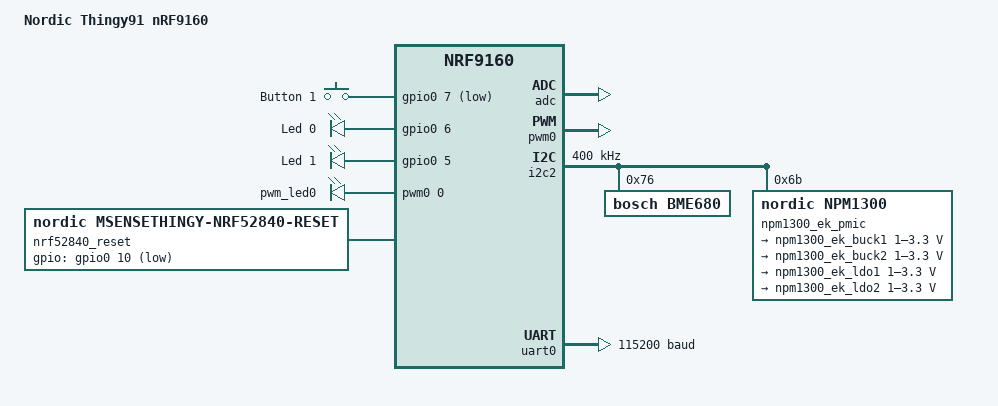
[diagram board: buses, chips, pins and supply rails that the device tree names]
/*
 * Copyright (c) 2019 Nordic Semiconductor ASA
 *
 * SPDX-License-Identifier: LicenseRef-Nordic-5-Clause
 */
#include "msenseThingy_nrf9160_common-pinctrl.dtsi"
#include <dt-bindings/regulator/npm1300.h>

/ {
	model = "Nordic Thingy91 nRF9160";
	compatible = "nordic,msenseThingy-nrf9160";

	chosen {
		zephyr,console = &uart0;
		zephyr,shell-uart = &uart0;
		zephyr,uart-mcumgr = &uart0;
	};

	buttons {
		compatible = "gpio-keys";

		button0: button_0 {
			gpios = <&gpio0 7 (GPIO_PULL_UP | GPIO_ACTIVE_LOW)>;
			label = "Button 1";
		};
	};

	leds {
		compatible = "gpio-leds";
		led0: led_0 {
			gpios = <&gpio0 6 GPIO_OPEN_DRAIN>;
			label = "Led 0";
		};
		led1: led_1 {
			gpios = <&gpio0 5 GPIO_OPEN_DRAIN>;
			label = "Led 1";
		};
	};

	pwmleds {
		compatible = "pwm-leds";
		pwm_led0: pwm_led_0 {
			pwms = <&pwm0 0 PWM_MSEC(20) PWM_POLARITY_INVERTED>;
		};
	};

	nrf52840_reset: gpio-reset {
		compatible = "nordic,msenseThingy-nrf52840-reset";
		status = "okay";
		gpios = <&gpio0 10 GPIO_ACTIVE_LOW>;
	};

	aliases {
		sw0 = &button0;
		led0 = &led0;
		led1 = &led1;
		bootloader-led0 = &led0;
		pwm-led0 = &pwm_led0;
		mcuboot-button0 = &button0;
		mcuboot-led0 = &led0;
	};
};

&adc {
	status = "okay";
};

&gpiote {
	status = "okay";
};

&gpio0 {
	status = "okay";
};

/* PWM0 is intended for RGB LED control */
&pwm0 {
	status = "okay";
	pinctrl-0 = <&pwm0_default>;
	pinctrl-1 = <&pwm0_sleep>;
	pinctrl-names = "default", "sleep";
};

&i2c2 {
	compatible = "nordic,nrf-twim";
	status = "okay";
	clock-frequency = <I2C_BITRATE_FAST>;

	pinctrl-0 = <&i2c2_default>;
	pinctrl-1 = <&i2c2_sleep>;
	pinctrl-names = "default", "sleep";
	bme680: bme680@76 {
		compatible = "bosch,bme680";
		reg = <0x76>;
	};

	npm1300_ek_pmic: pmic@6b {
		compatible = "nordic,npm1300";
		reg = <0x6b>;
 
	 	// long-press-reset = "one_button";
	 	// ship-to-active-time = <96>;
 
		npm1300_ek_gpio: gpio-controller {
			compatible = "nordic,npm1300-gpio";
			gpio-controller;
			#gpio-cells = <2>;
			ngpios = <5>;
		};
 
		npm1300_ek_regulators: regulators {
			compatible = "nordic,npm1300-regulator";
 
						
			npm1300_ek_buck1: BUCK1 {
				regulator-min-microvolt = <1000000>;
				regulator-max-microvolt = <3300000>;
				
				retention-microvolt = <2000000>;
			};
			

			npm1300_ek_buck2: BUCK2 {
				regulator-min-microvolt = <1000000>;
				regulator-max-microvolt = <3300000>;
				
				retention-microvolt = <1000000>;
			};
			
			npm1300_ek_ldo1: LDO1 {
				regulator-min-microvolt = <1000000>;
				regulator-max-microvolt = <3300000>;
				regulator-initial-mode = <NPM1300_LDSW_MODE_LDSW>;
				// soft-start-microamp = <20000>;
			};
			
			npm1300_ek_ldo2: LDO2 {
				regulator-min-microvolt = <1000000>;
				regulator-max-microvolt = <3300000>;
				regulator-initial-mode = <NPM1300_LDSW_MODE_LDSW>;
				// soft-start-microamp = <20000>;
				regulator-boot-on;
			};
			
		};
 
				
		npm1300_ek_charger: charger {
			compatible = "nordic,npm1300-charger";
			term-microvolt = <3500000>;
			term-warm-microvolt = <3600000>;
			// term-current-percent = <10>;
			current-microamp = <100000>;
			// trickle-microvolt = <2500000>;
			dischg-limit-microamp = <1340000>;
			vbus-limit-microamp = <500000>;
			thermistor-ohms = <10000>;
			thermistor-beta = <3380>;
			charging-enable;
		};
		
				
		npm1300_ek_leds: leds {
			compatible = "nordic,npm1300-led";
			nordic,led0-mode = "error";    
			nordic,led1-mode = "charging";    
			nordic,led2-mode = "host";
		};
		
	};
};

&uart0 {
	compatible = "nordic,nrf-uarte";
	current-speed = <115200>;
	status = "okay";
	pinctrl-0 = <&uart0_default>;
	pinctrl-1 = <&uart0_sleep>;
	pinctrl-names = "default", "sleep";
};

&uart1 {
	current-speed = <1000000>;
	status = "disabled";
	pinctrl-0 = <&uart1_default>;
	pinctrl-1 = <&uart1_sleep>;
	pinctrl-names = "default", "sleep";
};

&flash0 {
	/*
	 * For more information, see:
	 * http://docs.zephyrproject.org/devices/dts/flash_partitions.html
	 */
	partitions {
		compatible = "fixed-partitions";
		#address-cells = <1>;
		#size-cells = <1>;

		boot_partition: partition@0 {
			label = "mcuboot";
			reg = <0x00000000 0x10000>;
		};
		slot0_partition: partition@10000 {
			label = "image-0";
		};
		slot0_ns_partition: partition@40000 {
			label = "image-0-nonsecure";
		};
		slot1_partition: partition@80000 {
			label = "image-1";
		};
		slot1_ns_partition: partition@b0000 {
			label = "image-1-nonsecure";
		};
		scratch_partition: partition@f0000 {
			label = "image-scratch";
			reg = <0x000f0000 0xa000>;
		};
		storage_partition: partition@fa000 {
			label = "storage";
			reg = <0x000fa000 0x00006000>;
		};
	};
};

/ {

	reserved-memory {
		#address-cells = <1>;
		#size-cells = <1>;
		ranges;

		sram0_s: image_s@20000000 {
			/* Secure image memory */
		};

		sram0_bsd: image_bsd@20010000 {
			/* BSD (shared) memory */
		};

		sram0_ns: image_ns@20020000 {
			/* Non-Secure image memory */
		};
	};
};

/* Include partition configuration file */
#include "msenseThingy_nrf9160_partition_conf.dts"
